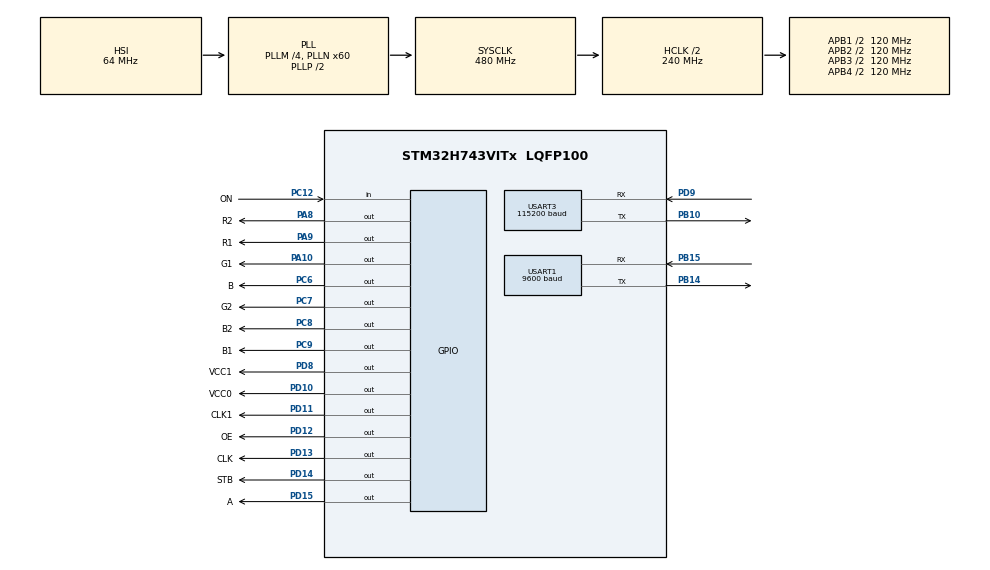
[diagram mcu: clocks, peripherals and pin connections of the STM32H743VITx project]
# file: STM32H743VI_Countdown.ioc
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Dma.Request0=USART1_RX
Dma.USART1_RX.0.Direction=DMA_PERIPH_TO_MEMORY
Dma.USART1_RX.0.EventEnable=DISABLE
Dma.USART1_RX.0.FIFOMode=DMA_FIFOMODE_DISABLE
Dma.USART1_RX.0.Instance=DMA1_Stream0
Dma.USART1_RX.0.MemDataAlignment=DMA_MDATAALIGN_BYTE
Dma.USART1_RX.0.MemInc=DMA_MINC_ENABLE
Dma.USART1_RX.0.Mode=DMA_NORMAL
Dma.USART1_RX.0.PeriphDataAlignment=DMA_PDATAALIGN_BYTE
Dma.USART1_RX.0.PeriphInc=DMA_PINC_DISABLE
Dma.USART1_RX.0.Polarity=HAL_DMAMUX_REQ_GEN_RISING
Dma.USART1_RX.0.Priority=DMA_PRIORITY_HIGH
Dma.USART1_RX.0.RequestNumber=1
Dma.USART1_RX.0.SignalID=NONE
Dma.USART1_RX.0.SyncEnable=DISABLE
Dma.USART1_RX.0.SyncPolarity=HAL_DMAMUX_SYNC_NO_EVENT
Dma.USART1_RX.0.SyncRequestNumber=1
Dma.USART1_RX.0.SyncSignalID=NONE
Mcu.Family=STM32H7
Mcu.Name=STM32H743VITx
Mcu.Package=LQFP100
NVIC.DMA1_Stream0_IRQn=true\:0\:0\:false\:false\:true\:false\:true
NVIC.PriorityGroup=NVIC_PRIORITYGROUP_4
NVIC.TIM1_UP_IRQn=true\:0\:0\:false\:false\:true\:true\:true
NVIC.TIM2_IRQn=true\:0\:0\:false\:false\:true\:true\:true
NVIC.USART1_IRQn=true\:0\:0\:false\:false\:true\:true\:true
NVIC.USART3_IRQn=true\:0\:0\:false\:false\:true\:true\:true
PA10.GPIO_Label=G1
PA10.Signal=GPIO_Output
PA8.GPIO_Label=R2
PA8.Signal=GPIO_Output
PA9.GPIO_Label=R1
PA9.Signal=GPIO_Output
PB10.Mode=Asynchronous
PB10.Signal=USART3_TX
PB14.Mode=Asynchronous
PB14.Signal=USART1_TX
PB15.Mode=Asynchronous
PB15.Signal=USART1_RX
PC12.GPIO_Label=ON
PC12.GPIO_PuPd=GPIO_PULLUP
PC12.Signal=GPIO_Input
PC6.GPIO_Label=B
PC6.Signal=GPIO_Output
PC7.GPIO_Label=G2
PC7.Signal=GPIO_Output
PC8.GPIO_Label=B2
PC8.Signal=GPIO_Output
PC9.GPIO_Label=B1
PC9.Signal=GPIO_Output
PD10.GPIO_Label=VCC0
PD10.Signal=GPIO_Output
PD11.GPIO_Label=CLK1
PD11.Signal=GPIO_Output
PD12.GPIO_Label=OE
PD12.Signal=GPIO_Output
PD13.GPIO_Label=CLK
PD13.Signal=GPIO_Output
PD14.GPIO_Label=STB
PD14.Signal=GPIO_Output
PD15.GPIO_Label=A
PD15.Signal=GPIO_Output
PD8.GPIO_Label=VCC1
PD8.Signal=GPIO_Output
PD9.Mode=Asynchronous
PD9.Signal=USART3_RX
PH0-OSC_IN\ (PH0).Mode=HSE-External-Oscillator
PH0-OSC_IN\ (PH0).Signal=RCC_OSC_IN
PH1-OSC_OUT\ (PH1).Mode=HSE-External-Oscillator
PH1-OSC_OUT\ (PH1).Signal=RCC_OSC_OUT
ProjectManager.HeapSize=0x200
ProjectManager.StackSize=0x400
ProjectManager.TargetToolchain=STM32CubeIDE
RCC.ADCFreq_Value=129000000
RCC.APB1Freq_Value=120000000
RCC.APB2Freq_Value=120000000
RCC.APB3Freq_Value=120000000
RCC.APB4Freq_Value=120000000
RCC.CortexFreq_Value=60000000
RCC.Cortex_Div=SYSTICK_CLKSOURCE_HCLK_DIV8
RCC.D1PPRE=RCC_APB3_DIV2
RCC.D2PPRE1=RCC_APB1_DIV2
RCC.D2PPRE2=RCC_APB2_DIV2
RCC.D3PPRE=RCC_APB4_DIV2
RCC.DIVM1=4
RCC.DIVN1=60
RCC.HCLKFreq_Value=240000000
RCC.HPRE=RCC_HCLK_DIV2
RCC.HSE_VALUE=8000000
RCC.PLL1_VCI_Range-AdvancedSettings=RCC_PLL1VCIRANGE_1
RCC.SYSCLKFreq_VALUE=480000000
RCC.SYSCLKSource=RCC_SYSCLKSOURCE_PLLCLK
RCC.USBFreq_Value=480000000
TIM1.ClockDivision=TIM_CLOCKDIVISION_DIV1
TIM1.Period=5999
TIM1.Prescaler=39999
TIM2.Period=3000
TIM2.Prescaler=240-1
USART1.BaudRate=9600
USART1.Mode=MODE_RX
USART1.VirtualMode-Asynchronous=VM_ASYNC
USART3.BaudRate=115200
USART3.VirtualMode-Asynchronous=VM_ASYNC
VP_TIM1_VS_ClockSourceINT.Mode=Internal
VP_TIM2_VS_ClockSourceINT.Mode=Internal
board=custom

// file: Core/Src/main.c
/* USER CODE BEGIN Header */
/**
 ******************************************************************************
 * @file           : main.c
 * @brief          : Main program body
 ******************************************************************************
 * @attention
 *
 * <h2><center>&copy; Copyright (c) 2021 STMicroelectronics.
 * All rights reserved.</center></h2>
 *
 * This software component is licensed by ST under BSD 3-Clause license,
 * the "License"; You may not use this file except in compliance with the
 * License. You may obtain a copy of the License at:
 *                        opensource.org/licenses/BSD-3-Clause
 *
 ******************************************************************************
 */
/* USER CODE END Header */
#include "main.h"

/* USER CODE BEGIN Includes */
#include <stdio.h>
#include <string.h>
#include <time.h>
/* USER CODE END Includes */

/* USER CODE BEGIN PD */
struct tm EventDate;
struct tm NowTime;
int utc_timezone = 7;

#define FONT0_LENGTH            11
#define FONT0_START_CHAR        48
#define FONT0_CHAR_WIDTH        8
#define FONT0_CHAR_HEIGHT       14
#define FONT0_FONT_TYPE         (FONT_TYPE_MONOSPACED)
#define FONT0_ARRAY_LENGTH      (FONT0_LENGTH * FONT0_CHAR_WIDTH)

const unsigned long  font0[FONT0_ARRAY_LENGTH] =
{

        // Digits / Цифры
    0b00000000000000000000011111111000, 0b00000000000000000001111111111110, 0b00000000000000000011100000000111, 0b00000000000000000011000000000011, 0b00000000000000000011100000000111, 0b00000000000000000001111111111110, 0b00000000000000000000011111111000, 0b00000000000000000000000000000000, // Символ 48  <0>
    0b00000000000000000011000000001100, 0b00000000000000000011000000001110, 0b00000000000000000011000000000111, 0b00000000000000000011111111111111, 0b00000000000000000011111111111111, 0b00000000000000000011111111111111, 0b00000000000000000011000000000000, 0b00000000000000000011000000000000, // Символ 49  <1>
    0b00000000000000000011100000001100, 0b00000000000000000011111000001110, 0b00000000000000000011111100000011, 0b00000000000000000011001110000011, 0b00000000000000000011000111000011, 0b00000000000000000011000011111111, 0b00000000000000000011000001111110, 0b00000000000000000011000000000000, // Символ 50  <2>
    0b00000000000000000001110000001100, 0b00000000000000000011110000001110, 0b00000000000000000011000000000011, 0b00000000000000000011000011000011, 0b00000000000000000011000011000011, 0b00000000000000000011111111111111, 0b00000000000000000000111100111100, 0b00000000000000000000000000000000, // Символ 51  <3>
    0b00000000000000000000011100000000, 0b00000000000000000000011111000000, 0b00000000000000000000011011110000, 0b00000000000000000000011000111000, 0b00000000000000000000011000001110, 0b00000000000000000011111111111111, 0b00000000000000000011111111111111, 0b00000000000000000000011000000000, // Символ 52  <4>
    0b00000000000000000000110000000000, 0b00000000000000000001110011111111, 0b00000000000000000011100011111111, 0b00000000000000000011000001100011, 0b00000000000000000011000001100011, 0b00000000000000000011100011100011, 0b00000000000000000001111111000011, 0b00000000000000000000111110000000, // Символ 53  <5>
    0b00000000000000000000011111111000, 0b00000000000000000001111111111110, 0b00000000000000000011100001000111, 0b00000000000000000011000001100011, 0b00000000000000000011000001100011, 0b00000000000000000001111111100110, 0b00000000000000000000111110000100, 0b00000000000000000000000000000000, // Символ 54  <6>
    0b00000000000000000000000000000011, 0b00000000000000000000000000000011, 0b00000000000000000011110000000011, 0b00000000000000000011111110000011, 0b00000000000000000000001111100011, 0b00000000000000000000000001111011, 0b00000000000000000000000000011111, 0b00000000000000000000000000001111, // Символ 55  <7>
    0b00000000000000000000111100111100, 0b00000000000000000001111111111110, 0b00000000000000000011100111100111, 0b00000000000000000011000011000011, 0b00000000000000000011100111100111, 0b00000000000000000001111111111110, 0b00000000000000000000111100111100, 0b00000000000000000000000000000000, // Символ 56  <8>
    0b00000000000000000001100001111100, 0b00000000000000000011100111111110, 0b00000000000000000011001111000111, 0b00000000000000000011000110000011, 0b00000000000000000011100011000111, 0b00000000000000000001111111111110, 0b00000000000000000000011111111000, 0b00000000000000000000000000000000, // Символ 57  <9>

    0b00000000000000000000000000000000, 0b00000000000000000000000000000000, 0b00000000000000000000000000000000, 0b00000000000000000000111000011100, 0b00000000000000000000111000011100, 0b00000000000000000000000000000000, 0b00000000000000000000000000000000, 0b00000000000000000000000000000000  // Символ 58  <:>
};

#define FONT1_LENGTH            11
#define FONT1_START_CHAR        48
#define FONT1_CHAR_WIDTH        15
#define FONT1_CHAR_HEIGHT       25
#define FONT1_ARRAY_LENGTH      (FONT1_LENGTH * FONT1_CHAR_WIDTH)

const unsigned long  font1[FONT1_ARRAY_LENGTH] =
{

        // Digits / Цифры
    0x0003FFC0, 0x001FFFF8, 0x007FFFFC, 0x00FFFFFE, 0x00F8003F, 0x01E0000F, 0x01E0000F, 0x01E0000F, 0x01F0000F, 0x01FC003F, 0x00FFFFFE, 0x007FFFFC, 0x001FFFF8, 0x0003FF80, 0x00000000, // Символ 48  <0>
    0x01E000F0, 0x01E00078, 0x01E0003C, 0x01E0001E, 0x01E0001E, 0x01FFFFFF, 0x01FFFFFF, 0x01FFFFFF, 0x01FFFFFF, 0x01FFFFFF, 0x01E00000, 0x01E00000, 0x01E00000, 0x01E00000, 0x00000000, // Символ 49  <1>
    0x00000060, 0x01F00078, 0x01FE007E, 0x01FF007E, 0x01FF803F, 0x01EFC00F, 0x01E3E00F, 0x01E1F80F, 0x01E0FC0F, 0x01E07E1F, 0x01E03FFE, 0x01E01FFE, 0x01E00FFC, 0x01E003F0, 0x01E00000, // Символ 50  <2>
    0x001C0070, 0x007C0078, 0x00FC007C, 0x00FE007E, 0x01F0001F, 0x01E0000F, 0x01E03C0F, 0x01E03C0F, 0x01E03C0F, 0x01F07E1F, 0x00FFFFFE, 0x00FFE7FE, 0x007FE3FC, 0x001F81F0, 0x00000000, // Символ 51  <3>
    0x000F8000, 0x000FE000, 0x000FF000, 0x000FFC00, 0x000F3F00, 0x000F0FC0, 0x000F03F0, 0x000F00FC, 0x000F003F, 0x01FFFFFF, 0x01FFFFFF, 0x01FFFFFF, 0x01FFFFFF, 0x000F0000, 0x000F0000, // Символ 52  <4>
    0x003C1FE0, 0x007C1FFF, 0x00FC1FFF, 0x00FC1FFF, 0x01F01E0F, 0x01E00F0F, 0x01E00F0F, 0x01E00F0F, 0x01F01F0F, 0x00F83F0F, 0x00FFFE0F, 0x007FFE0F, 0x003FFC0F, 0x000FE000, 0x00000000, // Символ 53  <5>
    0x0007FF80, 0x003FFFF0, 0x007FFFFC, 0x00FFFFFE, 0x00F8387E, 0x01F01C1F, 0x01E01E0F, 0x01E01E0F, 0x01E01E0F, 0x01F87E3F, 0x00FFFE3E, 0x00FFFC3C, 0x003FF838, 0x000FE000, 0x00000000, // Символ 54  <6>
    0x0000000F, 0x0000000F, 0x0000000F, 0x01F8000F, 0x01FF800F, 0x01FFF00F, 0x01FFFE0F, 0x0007FF8F, 0x00007FEF, 0x00000FFF, 0x000001FF, 0x0000007F, 0x0000001F, 0x00000000, 0x00000000, // Символ 55  <7>
    0x001F01F0, 0x007FC7FC, 0x00FFEFFE, 0x00FFEFFE, 0x01E07E0F, 0x01C03807, 0x01C03807, 0x01C03807, 0x01C03807, 0x01E07C0F, 0x00FFEFFE, 0x00FFEFFE, 0x007FC7FC, 0x001F81F0, 0x00000000, // Символ 56  <8>
    0x00180FE0, 0x00787FF8, 0x00F8FFFC, 0x00F8FFFE, 0x01F1F83F, 0x01E1E00F, 0x01E1E00F, 0x01E1E00F, 0x01F0F01F, 0x00FC783F, 0x00FFFFFE, 0x007FFFFC, 0x001FFFF0, 0x0003FF80, 0x00000000, // Символ 57  <9>

    0x00000000, 0x00000000, 0x00000000, 0x00000000, 0x00000000, 0x00000000, 0x003E01F0, 0x003E01F0, 0x003E01F0, 0x003E01F0, 0x00000000, 0x00000000, 0x00000000, 0x00000000, 0x00000000  // Символ 58  <:>
};

#define SETTINGS_ADDRESS 0x81E0020 //адрес для сохранения настроек
#define trig_time_err 60 //калибровка каждые trig_time_err секунд
#define digitalWrite(port, pin, st) if(st){port->BSRR = pin;}else{port->BSRR = (uint32_t)pin << 16;}
#define SIZE_BF_SET 28 //размер команды настройки
#define SIZE_BF 600 //размер кольцевого буфера приемника gps nmea сообщений
#define Rx1Buf_SIZE 100 //размер ожидаемой части для добавления в кольцевой буфер

/* USER CODE END PD */

TIM_HandleTypeDef htim1;
TIM_HandleTypeDef htim2;

UART_HandleTypeDef huart1;
UART_HandleTypeDef huart3;
DMA_HandleTypeDef hdma_usart1_rx;

void SystemClock_Config(void);
static void MX_GPIO_Init(void);
static void MX_TIM1_Init(void);
static void MX_USART3_UART_Init(void);
static void MX_DMA_Init(void);
static void MX_USART1_UART_Init(void);
static void MX_TIM2_Init(void);

/* USER CODE BEGIN 0 */

uint16_t TOnLP = 33;
uint16_t Dl_CLK = 5;

uint8_t RAW_DISPLAY[20][32];
uint8_t ColorMatrix = 0;
const uint8_t ColorMatrix0 = 4;
uint8_t ColorMatrix1 = 7;
int SetColorMatrix = 7;

void delay_clk(uint16_t clk) //create delay function
{
	for (uint16_t j = 0; j < clk; j++)
		asm("NOP");
	//Perform no operation //assembly code
}

void delay_us(uint16_t us) //create delay function
{
	for (uint16_t i = 0; i < us; i++) {
		for (uint16_t j = 0; j < 480; j++)
			asm("NOP");
		//Perform no operation //assembly code
	}
}

void SaveSettings() {
	int bp[8] = { utc_timezone, EventDate.tm_sec, EventDate.tm_min,
			EventDate.tm_hour, EventDate.tm_mday, EventDate.tm_mon,
			EventDate.tm_year, SetColorMatrix };
	HAL_FLASH_Unlock();
	FLASH_Erase_Sector(FLASH_SECTOR_7, FLASH_BANK_2, VOLTAGE_RANGE_1);
	HAL_FLASH_Program(FLASH_TYPEPROGRAM_FLASHWORD, SETTINGS_ADDRESS, &bp);
	HAL_FLASH_Lock();
}

void RestoreSettings() {
	int RSetting[8] = { 0 };
	memcpy(RSetting, SETTINGS_ADDRESS, 32);
	utc_timezone = RSetting[0];
	EventDate.tm_sec = RSetting[1];
	EventDate.tm_min = RSetting[2];
	EventDate.tm_hour = RSetting[3];
	EventDate.tm_mday = RSetting[4];
	EventDate.tm_mon = RSetting[5];
	EventDate.tm_year = RSetting[6];
	SetColorMatrix = RSetting[7];
	if (SetColorMatrix) {
		ColorMatrix1 = SetColorMatrix;
	}
}

void SetPixel(uint8_t Xp, uint8_t Yp, uint8_t N_p, uint16_t ON) {
	uint8_t n_byte = 0;
	uint8_t bit_mask;
	if (Yp >= 8) {
		Yp -= 8;
		n_byte = 16;
	}
	if (Yp < 4) {
		if (Xp < 8) {
			n_byte += (Yp % 4) * 4;
		} else {
			n_byte += 2 + (Yp % 4) * 4;
		}
		bit_mask = 128 >> (Xp % 8);
	} else {
		if (Xp < 8) {
			n_byte += 1 + (Yp % 4) * 4;
		} else {
			n_byte += 3 + (Yp % 4) * 4;
		}
		bit_mask = 1 << (Xp % 8);
	}
	uint8_t SP = RAW_DISPLAY[N_p][n_byte] & bit_mask;
	if (ON) {
		if (!SP) {
			RAW_DISPLAY[N_p][n_byte] |= bit_mask;
		}
	} else {
		if (SP) {
			RAW_DISPLAY[N_p][n_byte] &= ~bit_mask;
		}
	}
}

void SetPixelBigPanel(uint8_t Xp, uint8_t Yp, uint16_t ON) {
	uint8_t N_p_adr = 0;
	switch (Yp / 16) {
	case 0:
		N_p_adr = 4 - (Xp / 16);
		Xp = 79 - Xp;
		Yp = 63 - Yp;
		break;
	case 1:
		N_p_adr = Xp / 16 + 5;
		break;
	case 2:
		N_p_adr = Xp / 16 + 15;
		break;
	case 3:
		N_p_adr = 14 - (Xp / 16);
		Xp = 79 - Xp;
		Yp = 63 - Yp;
		break;
	}
	SetPixel(Xp % 16, Yp % 16, N_p_adr, ON);
}

void WriteChar(uint8_t x_s, uint8_t y_s, uint8_t char_id, uint8_t font) {
	if (font == 0) {
		for (uint8_t x_b = 0; x_b < FONT0_CHAR_WIDTH; x_b++) {
			for (uint8_t y_b = 0; y_b < FONT0_CHAR_HEIGHT; y_b++) {
				SetPixelBigPanel(x_s + x_b, y_s + y_b,
						font0[char_id * FONT0_CHAR_WIDTH + x_b] & (1 << y_b));
			}
		}
	} else {
		for (uint8_t x_b = 0; x_b < FONT1_CHAR_WIDTH; x_b++) {
			for (uint8_t y_b = 0; y_b < FONT1_CHAR_HEIGHT; y_b++) {
				if (font1[char_id * FONT1_CHAR_WIDTH + x_b] & (1 << y_b)) {
					SetPixelBigPanel(x_s + x_b, y_s + y_b, 1);
				} else {
					SetPixelBigPanel(x_s + x_b, y_s + y_b, 0);
				}
			}
		}
	}
}

void clear() {
	for (int i = 0; i < 20; i++) {
		for (int j = 0; j < 32; j++) {
			RAW_DISPLAY[i][j] = 0;
		}
	}
}

void Clk_data(uint8_t n_p, uint8_t x_b, uint8_t y_b, uint8_t bit_mask,
		uint8_t CM1, uint8_t CM2, uint8_t n_line) {
	uint16_t CLK_P;
	if (n_line) {
		CLK_P = CLK1_Pin;
		n_p += 10;
		ColorMatrix = ColorMatrix1;
	} else {
		CLK_P = CLK_Pin;
		ColorMatrix = ColorMatrix0;
	}
	digitalWrite(GPIOD, CLK_P, 0);

	if (RAW_DISPLAY[n_p][x_b / 8 + y_b * 4] & bit_mask) {
		CM1 = ColorMatrix;
	}
	if (RAW_DISPLAY[n_p][x_b / 8 + y_b * 4 + 16] & bit_mask) {
		CM2 = ColorMatrix;
	}
	digitalWrite(GPIOA, R1_Pin, CM1 & 0b100);
	digitalWrite(GPIOA, G1_Pin, CM1 & 0b10);
	digitalWrite(GPIOC, B1_Pin, CM1 & 0b1);
	digitalWrite(GPIOA, R2_Pin, CM2 & 0b100);
	digitalWrite(GPIOC, G2_Pin, CM2 & 0b10);
	digitalWrite(GPIOC, B2_Pin, CM2 & 0b1);
	digitalWrite(GPIOD, CLK_P, 1);
	delay_clk(Dl_CLK);
}

void LoadAndShowBufOnPanel(void) {
	uint8_t bit_mask;
	static uint8_t y_b;
	uint8_t x_b;
	uint8_t n_p;
	uint8_t CM1;
	uint8_t CM2;
	digitalWrite(GPIOD, OE_Pin, 1);
		for (n_p = 0; n_p < 10; n_p++) {
			for (x_b = 0; x_b < 32; x_b++) {
				CM1 = CM2 = 0;
				bit_mask = 1 << (x_b % 8);

				Clk_data(n_p, x_b, y_b, bit_mask, CM1, CM2, 0);
				Clk_data(n_p, x_b, y_b, bit_mask, CM1, CM2, 1);

			}
		}
		digitalWrite(GPIOD, STB_Pin, 1);
		digitalWrite(GPIOD, STB_Pin, 0);

		digitalWrite(GPIOD, A_Pin, (y_b & 0b1) > 0);
		digitalWrite(GPIOC, B_Pin, (y_b & 0b10) > 0);

		digitalWrite(GPIOD, OE_Pin, 0);

		y_b++;
		if (y_b >= 4) {
			y_b = 0;
		}
}

char* S_Parser(char *string) {
	static char *source = NULL;
	char *p, *next_data = 0;
	if (string != NULL) {
		source = string;
	}
	if (source == NULL) {
		return NULL;
	}
	if ((p = strpbrk(source, ",")) != NULL) {
		*p = 0;
		next_data = source;
		source = ++p;
	}
	return next_data;
}
uint64_t EventTimeSec;
uint64_t NowTimeSec;
uint64_t NowTimeSec_new;
char SET_data[SIZE_BF_SET] = { 0 };
const char str_SET_data[4] = "SET";
//формат: SET,+3,170222,120000,0,END\n
//+3 - utc_timezone
//170222 - дата в формате DDMMYY
//120000 - время в формате HHMMSS
//0 - цвет, 0 - перебор цветов, 1-7 - 3х-битный RGB-цвет
void GetSetting() {
	char *pstr = strstr(SET_data, str_SET_data);  //Поиск строки
	char *istr = S_Parser(pstr);  //Парсим значения из SET
	uint8_t i_d_SET = 0;
	int e_mon;
	while (istr != NULL)  // Выделение последующих частей
	{
		switch (i_d_SET) {
		case 1:
			sscanf(istr, "%2d", &utc_timezone);
			break;
		case 2:
			sscanf(istr, "%2d%2d%2d", &EventDate.tm_mday, &e_mon,
					&EventDate.tm_year);
			EventDate.tm_mon = e_mon - 1;
			break;
		case 3:
			sscanf(istr, "%2d%2d%2d", &EventDate.tm_hour, &EventDate.tm_min,
					&EventDate.tm_sec);
			EventDate.tm_year += 100;
			break;
		case 4:
			sscanf(istr, "%1d", &SetColorMatrix);
			if (SetColorMatrix) {
				ColorMatrix1 = SetColorMatrix;
			}
			break;
		}
		istr = S_Parser(NULL);  // Выделение очередной части строки
		i_d_SET++;
	}
	EventTimeSec = mktime(&EventDate);
	SaveSettings();
}

const char strfind[4] = "RMC";
char nmea_data[SIZE_BF] = { 0 };
char Rx1Buf[Rx1Buf_SIZE] = { 0 };
void Get_Date_and_Time() {
	char *pstr = strstr(nmea_data, strfind);  //Поиск строки
	char *istr = S_Parser(pstr);  //Парсим значения из RMC
	uint8_t i_d_nmea = 0;
	while (istr != NULL)  // Выделение последующих частей
	{
		if (i_d_nmea == 1) {
			sscanf(istr, "%2d%2d%2d.", &NowTime.tm_hour, &NowTime.tm_min,
					&NowTime.tm_sec);
		}
		if (i_d_nmea == 9) {
			int n_mon;
			sscanf(istr, "%2d%2d%2d", &NowTime.tm_mday, &n_mon,
					&NowTime.tm_year);
			NowTime.tm_mon = n_mon - 1;
			NowTime.tm_year += 100;
			NowTimeSec_new = mktime(&NowTime) + utc_timezone * 3600;
			return;
		}
		i_d_nmea++;
		istr = S_Parser(NULL);  // Выделение очередной части строки
	}
}

uint16_t oldPos = 0;
uint16_t newPos = 0;
void HAL_UART_RxCpltCallback(UART_HandleTypeDef *huart) {
	if (huart == &huart1) {
		uint16_t Size = Rx1Buf_SIZE;
		oldPos = newPos; // Обновляем последнюю позицию перед копированием новых данных
		/* Если данные слишком большие и они вот-вот превысят размер буфера, мы должны направить их в начало буфера
		 * Это необходимо для поддержания циклического буфера
		 * Старые данные в основном буфере будут перекрываться
		 */
		if (oldPos + Size > SIZE_BF) // Если текущая позиция + новый размер данных больше, чем основной буфер
		{
			uint16_t datatocopy = SIZE_BF - oldPos; // узнаем, сколько места осталось в основном буфере
			memcpy((uint8_t*) nmea_data + oldPos, Rx1Buf, datatocopy); // копируем данные в оставшееся пространство

			oldPos = 0;   // указываем на начало буфера
			memcpy((uint8_t*) nmea_data, (uint8_t*) Rx1Buf + datatocopy,
					(Size - datatocopy));   // копируем оставшиеся данные
			newPos = (Size - datatocopy);   // обновляем позицию
		}
		/* если текущая позиция + новый размер данных меньше, чем основной буфер
		 * мы просто скопируем данные в буфер и обновим позицию
		 */
		else {
			memcpy((uint8_t*) nmea_data + oldPos, Rx1Buf, Size);
			newPos = Size + oldPos;
		}
		HAL_UART_Receive_DMA(&huart1, (uint8_t*) &Rx1Buf, Rx1Buf_SIZE);
	}
	if (huart == &huart3) {
		GetSetting();
	}
}

uint16_t time_err = 0;
void HAL_TIM_PeriodElapsedCallback(TIM_HandleTypeDef *htim) {
	if (htim->Instance == TIM1) //check if the interrupt comes from TIM1
	{
		Get_Date_and_Time();
		NowTimeSec++;
		if (NowTimeSec != NowTimeSec_new) {
			time_err++;
			if (time_err > trig_time_err) {
				NowTimeSec = NowTimeSec_new;
				time_err = 0;
			}
		} else {
			time_err = 0;
		}

		//HAL_UART_Receive_IT(&huart3, (uint8_t*) &SET_data, SIZE_BF_SET - 1);
	} else
	if (htim->Instance == TIM2) {
		LoadAndShowBufOnPanel();
	}
}

void print_two_dig(uint8_t x_start, uint8_t y_start, uint8_t two_dig, uint8_t font) {
	if (font == 0) {
		WriteChar(x_start, y_start, two_dig / 10, font);
		WriteChar(x_start + FONT0_CHAR_WIDTH + 2, y_start, two_dig % 10, font);
	} else {
		WriteChar(x_start, y_start, two_dig / 10, font);
		WriteChar(x_start + FONT1_CHAR_WIDTH + 2, y_start, two_dig % 10, font);
	}
}

void print_three_dig(uint8_t x_start, uint8_t y_start, uint16_t three_dig, uint8_t font) {
	uint8_t dig1 = (uint16_t) (three_dig / 100);
	uint8_t dig2 = (uint16_t) (three_dig % 100 / 10);
	uint8_t dig3 = (uint16_t) (three_dig % 10);
	if (font == 0) {
		if (three_dig < 10) {
			WriteChar(x_start, y_start, 10, font);
			WriteChar(x_start + FONT0_CHAR_WIDTH + 5, y_start, dig3, font);
			WriteChar(x_start + FONT0_CHAR_WIDTH + 18, y_start, 10, font);
		} else {
			WriteChar(x_start, y_start, dig1, font);
			WriteChar(x_start + FONT0_CHAR_WIDTH + 5, y_start, dig2, font);
			WriteChar(x_start + FONT0_CHAR_WIDTH + 18, y_start, dig3, font);
		}
	} else {
		if (three_dig < 10) {
			WriteChar(x_start, y_start, 10, font);
			WriteChar(x_start + FONT1_CHAR_WIDTH + 5, y_start, dig3, font);
			WriteChar(x_start + FONT1_CHAR_WIDTH * 2 + 9, y_start, 10, font);
		} else {
			WriteChar(x_start, y_start, dig1, font);
			WriteChar(x_start + FONT1_CHAR_WIDTH + 5, y_start, dig2, font);
			WriteChar(x_start + FONT1_CHAR_WIDTH * 2 + 9, y_start, dig3, font);
		}
	}
}
/* USER CODE END 0 */

int main(void)
{

  /* MCU Configuration--------------------------------------------------------*/

  /* Reset of all peripherals, Initializes the Flash interface and the Systick. */
  HAL_Init();

  /* USER CODE BEGIN Init */

	EventDate.tm_sec = 00; //секунды
	EventDate.tm_min = 00; //минуты
	EventDate.tm_hour = 12; //час
	EventDate.tm_mday = 26; //день
	EventDate.tm_mon = 11; //месяц c нуля
	EventDate.tm_year = 122; //год с 1900 года
	EventDate.tm_isdst = 0; //флаг перехода на летнее время

//  	EventDate.tm_sec = 00; //секунды
//  	EventDate.tm_min = 00; //минуты
//  	EventDate.tm_hour = 12; //час
//  	EventDate.tm_mday = 26; //день
//  	EventDate.tm_mon = 11; //месяц c нуля
//  	EventDate.tm_year = 121; //год с 1900 года
//  	EventDate.tm_isdst = 0; //флаг перехода на летнее время

	uint64_t EventTimer;
	EventTimeSec = mktime(&EventDate);
  /* USER CODE END Init */

  /* Configure the system clock */
  SystemClock_Config();

  /* Initialize all configured peripherals */
  MX_GPIO_Init();
  MX_TIM1_Init();
  MX_USART3_UART_Init();
  MX_DMA_Init();
  MX_USART1_UART_Init();
  MX_TIM2_Init();
  /* USER CODE BEGIN 2 */
	HAL_TIM_Base_Start_IT(&htim1);
	HAL_TIM_Base_Start_IT(&htim2);

	HAL_UART_Receive_DMA(&huart1, (uint8_t*) &Rx1Buf, Rx1Buf_SIZE);

//	HAL_UART_Receive_IT(&huart3, (uint8_t*) &SET_data, SIZE_BF_SET - 1);

	//вкл. выход упр. на панели
	HAL_GPIO_WritePin(GPIOD, VCC0_Pin, GPIO_PIN_SET);
	HAL_GPIO_WritePin(GPIOD, VCC1_Pin, GPIO_PIN_SET);

//	RestoreSettings();
  /* USER CODE END 2 */

  /* Infinite loop */
  /* USER CODE BEGIN WHILE */

	//SetPixel(2, 3, 0, 1);
	/*
	 SetPixelBigPanel(64, 0, 1);
	 SetPixelBigPanel(65, 1, 1);
	 SetPixelBigPanel(66, 2, 1);
	 SetPixelBigPanel(67, 3, 1);
	 SetPixelBigPanel(68, 4, 1);
	 SetPixelBigPanel(69, 5, 1);
	 SetPixelBigPanel(70, 6, 1);
	 SetPixelBigPanel(71, 7, 1);
	 SetPixelBigPanel(72, 8, 1);
	 SetPixelBigPanel(73, 9, 1);*/

	//WriteChar(64, 0, 1);
	uint32_t timer_i = 0;
	uint8_t i_c = 0;
	const uint8_t day_w = 3;
	const uint8_t time_w = 40;
	while (1) {

//		LoadAndShowBufOnPanel();

		if (HAL_UART_GetState(&huart1) != HAL_UART_STATE_BUSY_RX) {
			HAL_UART_Receive_DMA(&huart1, (uint8_t*) &Rx1Buf, Rx1Buf_SIZE);
		}

		timer_i++;
		if (SetColorMatrix == 0) {
			if (timer_i % 300 == 0) {
				if (i_c < 8) {
					ColorMatrix1 = i_c;
				} else {
					i_c = 0;
				}
				i_c++;
			}
		}
		if (timer_i % 10000 == 0) {
			if (HAL_GPIO_ReadPin(ON_GPIO_Port, ON_Pin) == GPIO_PIN_SET) {
				//clear();
				if (EventTimeSec > NowTimeSec && NowTimeSec > 1261440000) {
					EventTimer = EventTimeSec - NowTimeSec;
					print_three_dig(14, day_w, (uint16_t) (EventTimer / 86400), 1);
					print_two_dig(5, time_w, (uint8_t) (EventTimer / 3600 % 24), 0);
					WriteChar(23, time_w, 10, 0);
					print_two_dig(31, time_w, (uint8_t) (EventTimer / 60 % 60), 0);
					WriteChar(49, time_w, 10, 0);
					print_two_dig(57, time_w, (uint8_t) (EventTimer % 60), 0);
				} else {
					//Выводим на экран сообщение что счетчик оттикал
					WriteChar(14, day_w, 10, 1);
					WriteChar(14 + FONT1_CHAR_WIDTH + 5, day_w, 10, 1);
					WriteChar(14 + FONT1_CHAR_WIDTH *2 + 9, day_w, 10, 1);

					WriteChar(05, time_w, 10, 0);
					WriteChar(15, time_w, 10, 0);
					WriteChar(23, time_w, 10, 0);
					WriteChar(31, time_w, 10, 0);
					WriteChar(41, time_w, 10, 0);
					WriteChar(49, time_w, 10, 0);
					WriteChar(57, time_w, 10, 0);
					WriteChar(67, time_w, 10, 0);
				}
			} else {
				clear();
			}
		}

    /* USER CODE END WHILE */

	}
}

void SystemClock_Config(void)
{
  RCC_OscInitTypeDef RCC_OscInitStruct = {0};
  RCC_ClkInitTypeDef RCC_ClkInitStruct = {0};

  /** Supply configuration update enable
  */
  HAL_PWREx_ConfigSupply(PWR_LDO_SUPPLY);
  /** Configure the main internal regulator output voltage
  */
  __HAL_PWR_VOLTAGESCALING_CONFIG(PWR_REGULATOR_VOLTAGE_SCALE0);

  while(!__HAL_PWR_GET_FLAG(PWR_FLAG_VOSRDY)) {}
  /** Initializes the RCC Oscillators according to the specified parameters
  * in the RCC_OscInitTypeDef structure.
  */
  RCC_OscInitStruct.OscillatorType = RCC_OSCILLATORTYPE_HSI;
  RCC_OscInitStruct.HSIState = RCC_HSI_DIV1;
  RCC_OscInitStruct.HSICalibrationValue = RCC_HSICALIBRATION_DEFAULT;
  RCC_OscInitStruct.PLL.PLLState = RCC_PLL_ON;
  RCC_OscInitStruct.PLL.PLLSource = RCC_PLLSOURCE_HSI;
  RCC_OscInitStruct.PLL.PLLM = 4;
  RCC_OscInitStruct.PLL.PLLN = 60;
  RCC_OscInitStruct.PLL.PLLP = 2;
  RCC_OscInitStruct.PLL.PLLQ = 2;
  RCC_OscInitStruct.PLL.PLLR = 2;
  RCC_OscInitStruct.PLL.PLLRGE = RCC_PLL1VCIRANGE_3;
  RCC_OscInitStruct.PLL.PLLVCOSEL = RCC_PLL1VCOWIDE;
  RCC_OscInitStruct.PLL.PLLFRACN = 0;
  if (HAL_RCC_OscConfig(&RCC_OscInitStruct) != HAL_OK)
  {
    Error_Handler();
  }
  /** Initializes the CPU, AHB and APB buses clocks
  */
  RCC_ClkInitStruct.ClockType = RCC_CLOCKTYPE_HCLK|RCC_CLOCKTYPE_SYSCLK
                              |RCC_CLOCKTYPE_PCLK1|RCC_CLOCKTYPE_PCLK2
                              |RCC_CLOCKTYPE_D3PCLK1|RCC_CLOCKTYPE_D1PCLK1;
  RCC_ClkInitStruct.SYSCLKSource = RCC_SYSCLKSOURCE_PLLCLK;
  RCC_ClkInitStruct.SYSCLKDivider = RCC_SYSCLK_DIV1;
  RCC_ClkInitStruct.AHBCLKDivider = RCC_HCLK_DIV2;
  RCC_ClkInitStruct.APB3CLKDivider = RCC_APB3_DIV2;
  RCC_ClkInitStruct.APB1CLKDivider = RCC_APB1_DIV2;
  RCC_ClkInitStruct.APB2CLKDivider = RCC_APB2_DIV2;
  RCC_ClkInitStruct.APB4CLKDivider = RCC_APB4_DIV2;

  if (HAL_RCC_ClockConfig(&RCC_ClkInitStruct, FLASH_LATENCY_4) != HAL_OK)
  {
    Error_Handler();
  }
}

static void MX_TIM1_Init(void)
{

  TIM_ClockConfigTypeDef sClockSourceConfig = {0};
  TIM_MasterConfigTypeDef sMasterConfig = {0};

  htim1.Instance = TIM1;
  htim1.Init.Prescaler = 39999;
  htim1.Init.CounterMode = TIM_COUNTERMODE_UP;
  htim1.Init.Period = 5999;
  htim1.Init.ClockDivision = TIM_CLOCKDIVISION_DIV1;
  htim1.Init.RepetitionCounter = 0;
  htim1.Init.AutoReloadPreload = TIM_AUTORELOAD_PRELOAD_DISABLE;
  if (HAL_TIM_Base_Init(&htim1) != HAL_OK)
  {
    Error_Handler();
  }
  sClockSourceConfig.ClockSource = TIM_CLOCKSOURCE_INTERNAL;
  if (HAL_TIM_ConfigClockSource(&htim1, &sClockSourceConfig) != HAL_OK)
  {
    Error_Handler();
  }
  sMasterConfig.MasterOutputTrigger = TIM_TRGO_RESET;
  sMasterConfig.MasterOutputTrigger2 = TIM_TRGO2_RESET;
  sMasterConfig.MasterSlaveMode = TIM_MASTERSLAVEMODE_DISABLE;
  if (HAL_TIMEx_MasterConfigSynchronization(&htim1, &sMasterConfig) != HAL_OK)
  {
    Error_Handler();
  }

}

static void MX_TIM2_Init(void)
{

  TIM_ClockConfigTypeDef sClockSourceConfig = {0};
  TIM_MasterConfigTypeDef sMasterConfig = {0};

  htim2.Instance = TIM2;
  htim2.Init.Prescaler = 240-1;
  htim2.Init.CounterMode = TIM_COUNTERMODE_UP;
  htim2.Init.Period = 3000;
  htim2.Init.ClockDivision = TIM_CLOCKDIVISION_DIV1;
  htim2.Init.AutoReloadPreload = TIM_AUTORELOAD_PRELOAD_DISABLE;
  if (HAL_TIM_Base_Init(&htim2) != HAL_OK)
  {
    Error_Handler();
  }
  sClockSourceConfig.ClockSource = TIM_CLOCKSOURCE_INTERNAL;
  if (HAL_TIM_ConfigClockSource(&htim2, &sClockSourceConfig) != HAL_OK)
  {
    Error_Handler();
  }
  sMasterConfig.MasterOutputTrigger = TIM_TRGO_RESET;
  sMasterConfig.MasterSlaveMode = TIM_MASTERSLAVEMODE_DISABLE;
  if (HAL_TIMEx_MasterConfigSynchronization(&htim2, &sMasterConfig) != HAL_OK)
  {
    Error_Handler();
  }

}

static void MX_USART1_UART_Init(void)
{

  huart1.Instance = USART1;
  huart1.Init.BaudRate = 9600;
  huart1.Init.WordLength = UART_WORDLENGTH_8B;
  huart1.Init.StopBits = UART_STOPBITS_1;
  huart1.Init.Parity = UART_PARITY_NONE;
  huart1.Init.Mode = UART_MODE_RX;
  huart1.Init.HwFlowCtl = UART_HWCONTROL_NONE;
  huart1.Init.OverSampling = UART_OVERSAMPLING_16;
  huart1.Init.OneBitSampling = UART_ONE_BIT_SAMPLE_DISABLE;
  huart1.Init.ClockPrescaler = UART_PRESCALER_DIV1;
  huart1.AdvancedInit.AdvFeatureInit = UART_ADVFEATURE_NO_INIT;
  if (HAL_UART_Init(&huart1) != HAL_OK)
  {
    Error_Handler();
  }
  if (HAL_UARTEx_SetTxFifoThreshold(&huart1, UART_TXFIFO_THRESHOLD_1_8) != HAL_OK)
  {
    Error_Handler();
  }
  if (HAL_UARTEx_SetRxFifoThreshold(&huart1, UART_RXFIFO_THRESHOLD_1_8) != HAL_OK)
  {
    Error_Handler();
  }
  if (HAL_UARTEx_DisableFifoMode(&huart1) != HAL_OK)
  {
    Error_Handler();
  }

}

static void MX_USART3_UART_Init(void)
{

  huart3.Instance = USART3;
  huart3.Init.BaudRate = 115200;
  huart3.Init.WordLength = UART_WORDLENGTH_8B;
  huart3.Init.StopBits = UART_STOPBITS_1;
  huart3.Init.Parity = UART_PARITY_NONE;
  huart3.Init.Mode = UART_MODE_TX_RX;
  huart3.Init.HwFlowCtl = UART_HWCONTROL_NONE;
  huart3.Init.OverSampling = UART_OVERSAMPLING_16;
  huart3.Init.OneBitSampling = UART_ONE_BIT_SAMPLE_DISABLE;
  huart3.Init.ClockPrescaler = UART_PRESCALER_DIV1;
  huart3.AdvancedInit.AdvFeatureInit = UART_ADVFEATURE_NO_INIT;
  if (HAL_UART_Init(&huart3) != HAL_OK)
  {
    Error_Handler();
  }
  if (HAL_UARTEx_SetTxFifoThreshold(&huart3, UART_TXFIFO_THRESHOLD_1_8) != HAL_OK)
  {
    Error_Handler();
  }
  if (HAL_UARTEx_SetRxFifoThreshold(&huart3, UART_RXFIFO_THRESHOLD_1_8) != HAL_OK)
  {
    Error_Handler();
  }
  if (HAL_UARTEx_DisableFifoMode(&huart3) != HAL_OK)
  {
    Error_Handler();
  }

}

static void MX_DMA_Init(void)
{

  /* DMA controller clock enable */
  __HAL_RCC_DMA1_CLK_ENABLE();

  /* DMA interrupt init */
  /* DMA1_Stream0_IRQn interrupt configuration */
  HAL_NVIC_SetPriority(DMA1_Stream0_IRQn, 0, 0);
  HAL_NVIC_EnableIRQ(DMA1_Stream0_IRQn);

}

static void MX_GPIO_Init(void)
{
  GPIO_InitTypeDef GPIO_InitStruct = {0};

  /* GPIO Ports Clock Enable */
  __HAL_RCC_GPIOH_CLK_ENABLE();
  __HAL_RCC_GPIOB_CLK_ENABLE();
  __HAL_RCC_GPIOD_CLK_ENABLE();
  __HAL_RCC_GPIOC_CLK_ENABLE();
  __HAL_RCC_GPIOA_CLK_ENABLE();

  /*Configure GPIO pin Output Level */
  HAL_GPIO_WritePin(GPIOD, VCC1_Pin|VCC0_Pin|CLK1_Pin|OE_Pin
                          |CLK_Pin|STB_Pin|A_Pin, GPIO_PIN_RESET);

  /*Configure GPIO pin Output Level */
  HAL_GPIO_WritePin(GPIOC, B_Pin|G2_Pin|B2_Pin|B1_Pin, GPIO_PIN_RESET);

  /*Configure GPIO pin Output Level */
  HAL_GPIO_WritePin(GPIOA, R2_Pin|R1_Pin|G1_Pin, GPIO_PIN_RESET);

  /*Configure GPIO pins : VCC1_Pin VCC0_Pin CLK1_Pin OE_Pin
                           CLK_Pin STB_Pin A_Pin */
  GPIO_InitStruct.Pin = VCC1_Pin|VCC0_Pin|CLK1_Pin|OE_Pin
                          |CLK_Pin|STB_Pin|A_Pin;
  GPIO_InitStruct.Mode = GPIO_MODE_OUTPUT_PP;
  GPIO_InitStruct.Pull = GPIO_NOPULL;
  GPIO_InitStruct.Speed = GPIO_SPEED_FREQ_LOW;
  HAL_GPIO_Init(GPIOD, &GPIO_InitStruct);

  /*Configure GPIO pins : B_Pin G2_Pin B2_Pin B1_Pin */
  GPIO_InitStruct.Pin = B_Pin|G2_Pin|B2_Pin|B1_Pin;
  GPIO_InitStruct.Mode = GPIO_MODE_OUTPUT_PP;
  GPIO_InitStruct.Pull = GPIO_NOPULL;
  GPIO_InitStruct.Speed = GPIO_SPEED_FREQ_LOW;
  HAL_GPIO_Init(GPIOC, &GPIO_InitStruct);

  /*Configure GPIO pins : R2_Pin R1_Pin G1_Pin */
  GPIO_InitStruct.Pin = R2_Pin|R1_Pin|G1_Pin;
  GPIO_InitStruct.Mode = GPIO_MODE_OUTPUT_PP;
  GPIO_InitStruct.Pull = GPIO_NOPULL;
  GPIO_InitStruct.Speed = GPIO_SPEED_FREQ_LOW;
  HAL_GPIO_Init(GPIOA, &GPIO_InitStruct);

  /*Configure GPIO pin : ON_Pin */
  GPIO_InitStruct.Pin = ON_Pin;
  GPIO_InitStruct.Mode = GPIO_MODE_INPUT;
  GPIO_InitStruct.Pull = GPIO_PULLUP;
  HAL_GPIO_Init(ON_GPIO_Port, &GPIO_InitStruct);

}

void Error_Handler(void)
{
	__disable_irq();
	while (1) {
	}
}

/************************ (C) COPYRIGHT STMicroelectronics *****END OF FILE****/
